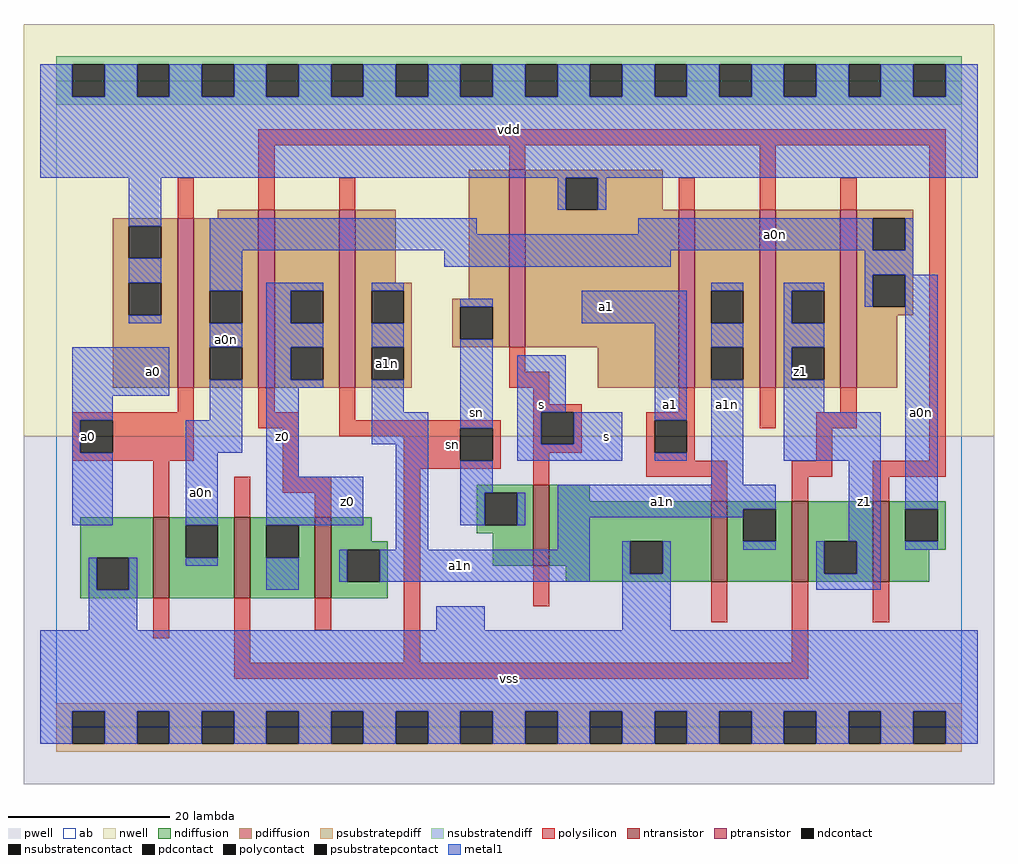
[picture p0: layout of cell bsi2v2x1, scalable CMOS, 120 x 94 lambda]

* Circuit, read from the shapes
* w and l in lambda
.subckt bsi2v2x1 a0 a0n a1 a1n s sn vdd vss z0 z1
M1 a0n a0 vss vss nfet w=10 l=2
M2 z0 sn a0n vss nfet w=10 l=2
M3 a1n s z0 vss nfet w=10 l=2
M4 vss s sn vss nfet w=10 l=2
M5 a1n a1 vss vss nfet w=10 l=2
M6 z1 sn a1n vss nfet w=10 l=2
M7 a0n s z1 vss nfet w=10 l=2
M8 a0n a0 vdd vdd pfet w=21 l=2
M9 z0 s a0n vdd pfet w=22 l=2
M10 a1n sn z0 vdd pfet w=22 l=2
M11 vdd s sn vdd pfet w=22 l=2
M12 a1n a1 vdd vdd pfet w=22 l=2
M13 z1 s a1n vdd pfet w=22 l=2
M14 a0n sn z1 vdd pfet w=22 l=2
.ends

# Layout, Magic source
magic
tech scmos
<< ab >>
rect 0 0 112 80
<< pwell >>
rect -4 -7 116 36
<< nwell >>
rect -4 36 116 87
<< polysilicon >>
rect 25 72 110 74
rect 15 63 17 68
rect 25 64 27 72
rect 56 69 58 72
rect 35 64 37 68
rect 77 64 79 68
rect 87 64 89 72
rect 97 64 99 68
rect 56 44 58 47
rect 56 42 61 44
rect 15 39 17 42
rect 2 38 17 39
rect 2 34 3 38
rect 7 34 17 38
rect 25 39 27 42
rect 25 37 30 39
rect 2 33 17 34
rect 12 26 14 33
rect 28 31 30 37
rect 35 38 37 42
rect 59 40 61 42
rect 59 39 65 40
rect 77 39 79 42
rect 35 37 55 38
rect 35 36 50 37
rect 43 33 50 36
rect 54 33 55 37
rect 43 32 55 33
rect 59 35 60 39
rect 64 35 65 39
rect 59 34 65 35
rect 73 38 79 39
rect 73 34 74 38
rect 78 34 79 38
rect 87 37 89 42
rect 97 39 99 42
rect 94 37 99 39
rect 22 26 24 31
rect 28 29 34 31
rect 32 26 34 29
rect 12 11 14 16
rect 22 8 24 16
rect 32 12 34 16
rect 43 8 45 32
rect 59 30 61 34
rect 73 33 79 34
rect 94 33 96 37
rect 108 33 110 72
rect 73 31 83 33
rect 81 28 83 31
rect 91 31 96 33
rect 101 31 110 33
rect 91 28 93 31
rect 101 28 103 31
rect 59 15 61 20
rect 81 13 83 18
rect 91 8 93 18
rect 101 13 103 18
rect 22 6 93 8
<< ndiffusion >>
rect 3 21 12 26
rect 3 17 5 21
rect 9 17 12 21
rect 3 16 12 17
rect 14 25 22 26
rect 14 21 16 25
rect 20 21 22 25
rect 14 16 22 21
rect 24 25 32 26
rect 24 21 26 25
rect 30 21 32 25
rect 24 16 32 21
rect 34 23 39 26
rect 34 22 41 23
rect 34 18 36 22
rect 40 18 41 22
rect 34 16 41 18
rect 52 29 59 30
rect 52 25 53 29
rect 57 25 59 29
rect 52 24 59 25
rect 54 20 59 24
rect 61 28 66 30
rect 61 23 81 28
rect 61 20 71 23
rect 63 19 71 20
rect 75 19 81 23
rect 63 18 81 19
rect 83 27 91 28
rect 83 23 85 27
rect 89 23 91 27
rect 83 18 91 23
rect 93 23 101 28
rect 93 19 95 23
rect 99 19 101 23
rect 93 18 101 19
rect 103 27 110 28
rect 103 23 105 27
rect 109 23 110 27
rect 103 22 110 23
rect 103 18 108 22
<< pdiffusion >>
rect 20 63 25 64
rect 7 62 15 63
rect 7 58 9 62
rect 13 58 15 62
rect 7 55 15 58
rect 7 51 9 55
rect 13 51 15 55
rect 7 42 15 51
rect 17 54 25 63
rect 17 50 19 54
rect 23 50 25 54
rect 17 47 25 50
rect 17 43 19 47
rect 23 43 25 47
rect 17 42 25 43
rect 27 54 35 64
rect 27 50 29 54
rect 33 50 35 54
rect 27 47 35 50
rect 27 43 29 47
rect 33 43 35 47
rect 27 42 35 43
rect 37 55 42 64
rect 37 54 44 55
rect 37 50 39 54
rect 43 50 44 54
rect 51 53 56 69
rect 37 47 44 50
rect 49 52 56 53
rect 49 48 50 52
rect 54 48 56 52
rect 49 47 56 48
rect 58 68 75 69
rect 58 64 63 68
rect 67 64 75 68
rect 58 47 77 64
rect 37 43 39 47
rect 43 43 44 47
rect 37 42 44 43
rect 67 42 77 47
rect 79 54 87 64
rect 79 50 81 54
rect 85 50 87 54
rect 79 47 87 50
rect 79 43 81 47
rect 85 43 87 47
rect 79 42 87 43
rect 89 54 97 64
rect 89 50 91 54
rect 95 50 97 54
rect 89 47 97 50
rect 89 43 91 47
rect 95 43 97 47
rect 89 42 97 43
rect 99 63 106 64
rect 99 59 101 63
rect 105 59 106 63
rect 99 56 106 59
rect 99 52 101 56
rect 105 52 106 56
rect 99 51 106 52
rect 99 42 104 51
<< metal1 >>
rect -2 78 2 82
rect 6 78 10 82
rect 14 78 18 82
rect 22 78 26 82
rect 30 78 34 82
rect 38 78 42 82
rect 46 78 50 82
rect 54 78 58 82
rect 62 78 66 82
rect 70 78 74 82
rect 78 78 82 82
rect 86 78 90 82
rect 94 78 98 82
rect 102 78 106 82
rect 110 78 114 82
rect -2 68 114 78
rect 9 62 13 68
rect 62 64 63 68
rect 67 64 68 68
rect 9 55 13 58
rect 9 50 13 51
rect 19 61 52 63
rect 72 61 101 63
rect 19 59 101 61
rect 105 59 106 63
rect 19 54 23 59
rect 48 57 76 59
rect 100 56 106 59
rect 19 47 23 50
rect 2 41 14 47
rect 2 38 7 41
rect 19 38 23 43
rect 2 34 3 38
rect 2 25 7 34
rect 16 34 23 38
rect 26 54 33 55
rect 26 50 29 54
rect 26 47 33 50
rect 26 43 29 47
rect 26 42 33 43
rect 39 54 43 55
rect 81 54 85 55
rect 39 47 43 50
rect 16 25 20 34
rect 4 17 5 21
rect 9 17 10 21
rect 16 20 20 21
rect 26 31 30 42
rect 39 39 43 43
rect 50 52 54 53
rect 65 50 78 54
rect 39 35 46 39
rect 26 25 38 31
rect 42 22 46 35
rect 50 37 54 48
rect 57 39 63 46
rect 57 35 60 39
rect 64 35 70 39
rect 57 33 70 35
rect 74 38 78 50
rect 74 33 78 34
rect 81 47 85 50
rect 50 29 54 33
rect 81 30 85 43
rect 90 54 95 55
rect 90 50 91 54
rect 100 52 101 56
rect 90 47 95 50
rect 90 43 91 47
rect 90 39 95 43
rect 90 33 102 39
rect 50 25 53 29
rect 57 25 58 29
rect 62 27 89 30
rect 62 26 85 27
rect 62 22 66 26
rect 98 23 102 33
rect 26 17 30 21
rect 35 18 36 22
rect 40 18 66 22
rect 70 19 71 23
rect 75 19 76 23
rect 85 22 89 23
rect 4 12 10 17
rect 47 12 53 15
rect 70 12 76 19
rect 94 19 95 23
rect 99 19 102 23
rect 105 27 109 56
rect 105 22 109 23
rect 94 17 102 19
rect -2 2 114 12
rect -2 -2 2 2
rect 6 -2 10 2
rect 14 -2 18 2
rect 22 -2 26 2
rect 30 -2 34 2
rect 38 -2 42 2
rect 46 -2 50 2
rect 54 -2 58 2
rect 62 -2 66 2
rect 70 -2 74 2
rect 78 -2 82 2
rect 86 -2 90 2
rect 94 -2 98 2
rect 102 -2 106 2
rect 110 -2 114 2
<< ntransistor >>
rect 12 16 14 26
rect 22 16 24 26
rect 32 16 34 26
rect 59 20 61 30
rect 81 18 83 28
rect 91 18 93 28
rect 101 18 103 28
<< ptransistor >>
rect 15 42 17 63
rect 25 42 27 64
rect 35 42 37 64
rect 56 47 58 69
rect 77 42 79 64
rect 87 42 89 64
rect 97 42 99 64
<< polycontact >>
rect 3 34 7 38
rect 50 33 54 37
rect 60 35 64 39
rect 74 34 78 38
<< ndcontact >>
rect 5 17 9 21
rect 16 21 20 25
rect 26 21 30 25
rect 36 18 40 22
rect 53 25 57 29
rect 71 19 75 23
rect 85 23 89 27
rect 95 19 99 23
rect 105 23 109 27
<< pdcontact >>
rect 9 58 13 62
rect 9 51 13 55
rect 19 50 23 54
rect 19 43 23 47
rect 29 50 33 54
rect 29 43 33 47
rect 39 50 43 54
rect 50 48 54 52
rect 63 64 67 68
rect 39 43 43 47
rect 81 50 85 54
rect 81 43 85 47
rect 91 50 95 54
rect 91 43 95 47
rect 101 59 105 63
rect 101 52 105 56
<< psubstratepcontact >>
rect 2 -2 6 2
rect 10 -2 14 2
rect 18 -2 22 2
rect 26 -2 30 2
rect 34 -2 38 2
rect 42 -2 46 2
rect 50 -2 54 2
rect 58 -2 62 2
rect 66 -2 70 2
rect 74 -2 78 2
rect 82 -2 86 2
rect 90 -2 94 2
rect 98 -2 102 2
rect 106 -2 110 2
<< nsubstratencontact >>
rect 2 78 6 82
rect 10 78 14 82
rect 18 78 22 82
rect 26 78 30 82
rect 34 78 38 82
rect 42 78 46 82
rect 50 78 54 82
rect 58 78 62 82
rect 66 78 70 82
rect 74 78 78 82
rect 82 78 86 82
rect 90 78 94 82
rect 98 78 102 82
rect 106 78 110 82
<< psubstratepdiff >>
rect 0 2 112 3
rect 0 -2 2 2
rect 6 -2 10 2
rect 14 -2 18 2
rect 22 -2 26 2
rect 30 -2 34 2
rect 38 -2 42 2
rect 46 -2 50 2
rect 54 -2 58 2
rect 62 -2 66 2
rect 70 -2 74 2
rect 78 -2 82 2
rect 86 -2 90 2
rect 94 -2 98 2
rect 102 -2 106 2
rect 110 -2 112 2
rect 0 -3 112 -2
<< nsubstratendiff >>
rect 0 82 112 83
rect 0 78 2 82
rect 6 78 10 82
rect 14 78 18 82
rect 22 78 26 82
rect 30 78 34 82
rect 38 78 42 82
rect 46 78 50 82
rect 54 78 58 82
rect 62 78 66 82
rect 70 78 74 82
rect 78 78 82 82
rect 86 78 90 82
rect 94 78 98 82
rect 102 78 106 82
rect 110 78 112 82
rect 0 77 112 78
<< labels >>
rlabel polysilicon 49 35 49 35 6 sn
rlabel metal1 18 29 18 29 6 a0n
rlabel polycontact 4 36 4 36 6 a0
rlabel metal1 12 44 12 44 6 a0
rlabel metal1 36 28 36 28 6 z0
rlabel metal1 28 36 28 36 6 z0
rlabel pdcontact 41 45 41 45 6 a1n
rlabel metal1 21 48 21 48 6 a0n
rlabel metal1 56 6 56 6 6 vss
rlabel metal1 50 20 50 20 6 a1n
rlabel metal1 60 40 60 40 6 s
rlabel metal1 52 39 52 39 6 sn
rlabel metal1 56 74 56 74 6 vdd
rlabel metal1 75 28 75 28 6 a1n
rlabel metal1 68 36 68 36 6 s
rlabel metal1 76 40 76 40 6 a1
rlabel metal1 68 52 68 52 6 a1
rlabel metal1 83 40 83 40 6 a1n
rlabel metal1 100 28 100 28 6 z1
rlabel pdcontact 92 44 92 44 6 z1
rlabel metal1 107 39 107 39 6 a0n
rlabel metal1 89 61 89 61 6 a0n
<< end >>
